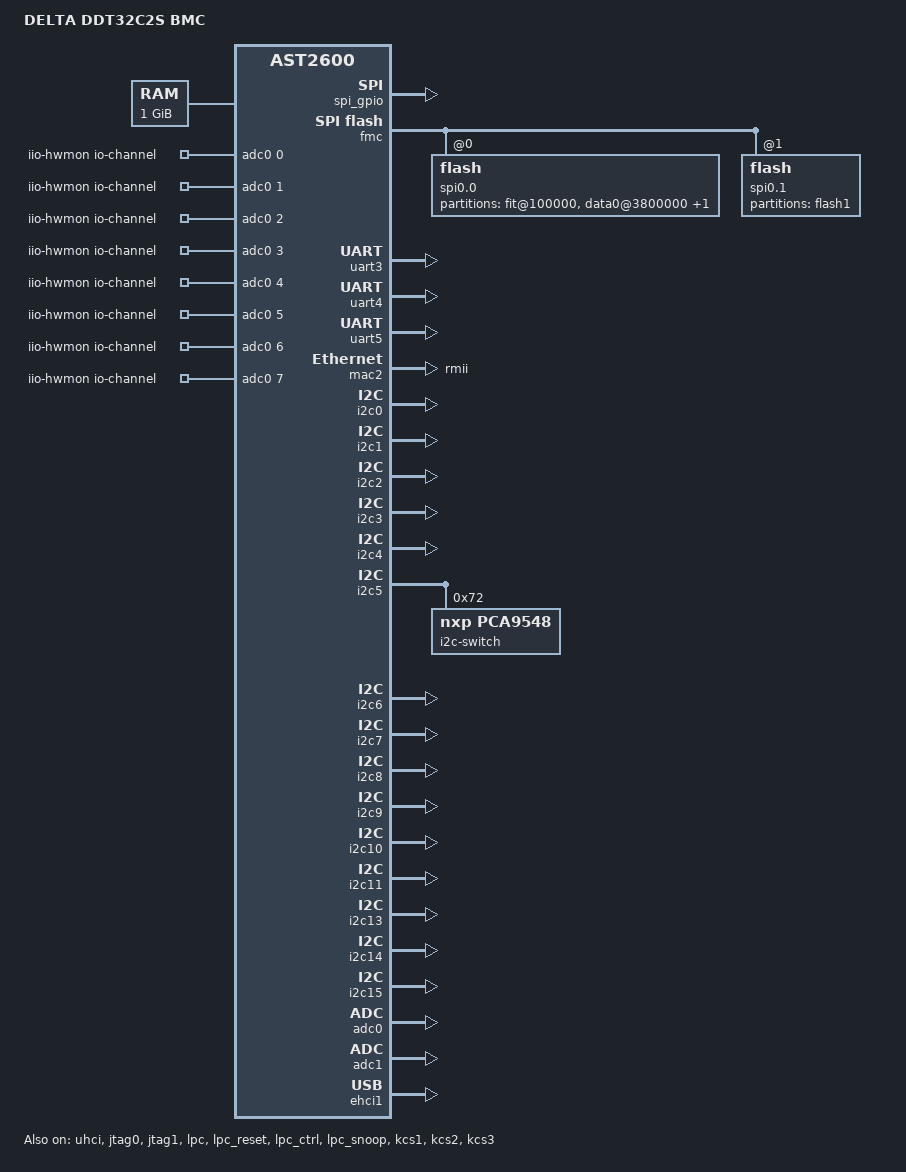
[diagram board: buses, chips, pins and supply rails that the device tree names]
// SPDX-License-Identifier: GPL-2.0+
// Delta Electronic, Inc.
/dts-v1/;

#include <dt-bindings/leds/common.h>
#include "ast2600-facebook-netbmc-common.dtsi"

/ {
	model = "DELTA DDT32C2S BMC";
	compatible = "delta,ddt32c2s-bmc", "aspeed,ast2600";

	aliases {
		/*
		 * I2C switch 6-0072, pca9548, total 8 child channels
		 * assigned bus number 16-23 connecting to FCM
		 * (Fan Controller Module).
		 */
		i2c16 = &imux16;
		i2c17 = &imux17;
		i2c18 = &imux18;
		i2c19 = &imux19;
		i2c20 = &imux20;
		i2c21 = &imux21;
		i2c22 = &imux22;
		i2c23 = &imux23;

		spi1 = &spi1;
		spi2 = &spi_gpio;

		serial0 = &uart1;
		serial4 = &uart5;
	};

	chosen {
		stdout-path = &uart5;
		bootargs = "console=ttyS4,115200n8 root=/dev/ram rw";
	};

	memory@80000000 {
		device_type = "memory";
		reg = <0x80000000 0x40000000>;
	};

	iio-hwmon {
		compatible = "iio-hwmon";
		io-channels = <&adc0 0>, <&adc0 1>, <&adc0 2>, <&adc0 3>,
						<&adc0 4>, <&adc0 5>, <&adc0 6>, <&adc0 7>,
						<&adc1 0>, <&adc1 1>, <&adc1 2>, <&adc1 3>,
						<&adc1 4>, <&adc1 5>, <&adc1 6>, <&adc1 7>;
	};

	spi_gpio: spi-gpio {
		status = "okay";

		num-chipselects = <1>;
		cs-gpios = <&gpio0 ASPEED_GPIO(X, 0) GPIO_ACTIVE_LOW>;
	};
};

&fmc {
	status = "okay";

	flash@0 {
		status = "okay";
		m25p,fast-read;
		label = "spi0.0";
#include "facebook-bmc-flash-layout-128.dtsi"

		partitions {
			fit@100000 {
				reg = <0x100000 0x3700000>;
			};

			data0@3800000 {
				reg = <0x3800000 0x800000>;
			};

			flash0@0 {
				reg = <0x0 0x4000000>;
			};
		};
	};

	flash@1 {
		status = "okay";
		m25p,fast-read;
		label = "spi0.1";

		partitions {
			compatible = "fixed-partitions";
			#address-cells = <1>;
			#size-cells = <1>;

			flash1@0 {
				reg = <0x0 0x4000000>;
				label = "flash1";
			};
		};
	};
};

&uart3 {
	status = "okay";
};

&uart4 {
	status = "okay";
	pinctrl-names = "default";
	pinctrl-0 = <&pinctrl_txd4_default
		     &pinctrl_rxd4_default>;
};

&uart5 {
	status = "okay";
};

&mac2 {
	status = "okay";

	phy-mode = "rmii";
	use-ncsi;

	pinctrl-names = "default";
	pinctrl-0 = <&pinctrl_rmii3_default>;
};

&i2c0 {
	status = "okay";
	multi-master;
	bus-frequency = <1000000>;
	aspeed,hw-timeout-ms = <1000>;
};

&i2c1 {
	status = "okay";
};

&i2c2 {
	status = "okay";
};

&i2c3 {
	status = "okay";
	/*
	lm75@4f {
		compatible = "national,lm75";
		reg = <0x4f>;
	};*/
};

&i2c4 {
	status = "okay";
	/*
	lm75@4b {
		compatible = "national,lm75";
		reg = <0x4b>;
	};
	lm75@49 {
		compatible = "national,lm75";
		reg = <0x49>;
	};
	lm75@4a {
		compatible = "national,lm75";
		reg = <0x4a>;
	};
	lm75@4e {
		compatible = "national,lm75";
		reg = <0x4e>;
	};*/
};

&i2c5 {
	status = "okay";
	
	i2c-switch@72 {
		compatible = "nxp,pca9548";
		#address-cells = <1>;
		#size-cells = <0>;
		reg = <0x72>;

		imux16: i2c@0 {
			#address-cells = <1>;
			#size-cells = <0>;
			reg = <0>;
		};

		imux17: i2c@1 {
			#address-cells = <1>;
			#size-cells = <0>;
			reg = <1>;
		};

		imux18: i2c@2 {
			#address-cells = <1>;
			#size-cells = <0>;
			reg = <2>;
		};

		imux19: i2c@3 {
			#address-cells = <1>;
			#size-cells = <0>;
			reg = <3>;
		};

		imux20: i2c@4 {
			#address-cells = <1>;
			#size-cells = <0>;
			reg = <4>;
		};

		imux21: i2c@5 {
			#address-cells = <1>;
			#size-cells = <0>;
			reg = <5>;
		};

		imux22: i2c@6 {
			#address-cells = <1>;
			#size-cells = <0>;
			reg = <6>;
		};

		imux23: i2c@7 {
			#address-cells = <1>;
			#size-cells = <0>;
			reg = <7>;
		};
	};
};

&i2c6 {
	status = "okay";
};

&i2c7 {
	status = "okay";
};

&i2c8 {
	status = "okay";
};

&i2c9 {
	status = "okay";
};

&i2c10 {
	status = "okay";
};

&i2c11 {
	status = "okay";
};

&i2c12 {
	status = "disable";
};

&i2c13 {
	status = "okay";
};

&i2c14 {
	status = "okay";
};

&i2c15 {
	status = "okay";
};

&adc0 {
	ref_voltage = <2500>;
	status = "okay";

	pinctrl-names = "default";
	pinctrl-0 = <&pinctrl_adc0_default &pinctrl_adc1_default
		&pinctrl_adc2_default &pinctrl_adc3_default
		&pinctrl_adc4_default &pinctrl_adc5_default
		&pinctrl_adc6_default &pinctrl_adc7_default>;
};

&adc1 {
	ref_voltage = <2500>;
	status = "okay";

	pinctrl-names = "default";
	pinctrl-0 = <&pinctrl_adc8_default &pinctrl_adc9_default
		&pinctrl_adc10_default &pinctrl_adc11_default
		&pinctrl_adc12_default &pinctrl_adc13_default
		&pinctrl_adc14_default &pinctrl_adc15_default>;
};

&ehci1 {
	status = "okay";
};

&uhci {
	status = "okay";
};

&sdhci1 {
	status = "disable";
	aspeed,sdhci-disable-dma;
};

&jtag0 {
	status = "okay";
};

&jtag1 {
	status = "okay";
};

&spi1 {
	status = "disable";
	compatible = "aspeed,ast2600-spi-master";

	spidev@0 {
		compatible = "rohm,dh2228fv";
		spi-max-frequency = <8250000>;
		reg = <0>;
	};
};

&lpc {
    status = "okay";
};

&lpc_reset {
    status = "okay";
};

&lpc_ctrl {
	// Enable lpc clock
	status = "okay";
};

&lpc_snoop {
	status = "okay";
	snoop-ports = <0x80>;
};

&kcs1 {
    kcs_addr = <0xCA0>;
    status = "okay";
};

&kcs2 {
	// BMC KCS channel 2
	status = "okay";
	kcs_addr = <0xCA8>;
	//aspeed,lpc-io-reg = <0xca8>;
};

&kcs3 {
	// BMC KCS channel 3
	status = "okay";
	kcs_addr = <0xCA2>;
	//aspeed,lpc-io-reg = <0xca2>;
};
